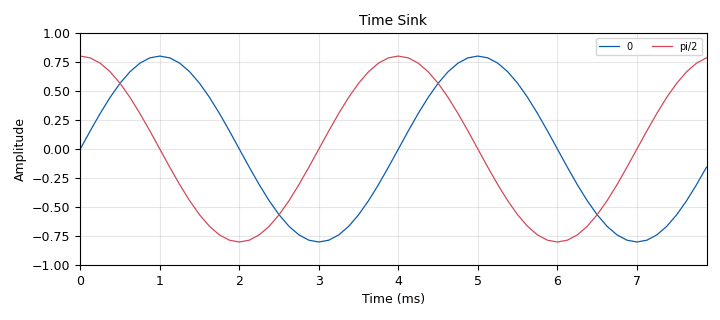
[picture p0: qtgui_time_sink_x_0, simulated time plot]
options:
  parameters:
    generate_options: qt_gui
    id: fg_ch17_002
    output_language: python
    title: FG-CH17-002
  states: {}

blocks:
- name: samp_rate
  id: variable
  parameters:
    value: '8000'
  states: {}
- name: analog_sig_source_x_0
  id: analog_sig_source_x
  parameters:
    amp: '0.8'
    freq: '250'
    offset: '0'
    phase: '0'
    samp_rate: samp_rate
    type: float
    waveform: analog.GR_COS_WAVE
  states: {}
- name: analog_sig_source_x_1
  id: analog_sig_source_x
  parameters:
    amp: '0.8'
    freq: '250'
    offset: '0'
    phase: math.pi/2
    samp_rate: samp_rate
    type: float
    waveform: analog.GR_COS_WAVE
  states: {}
- name: blocks_throttle2_0
  id: blocks_throttle2
  parameters:
    samples_per_second: samp_rate
    type: float
  states: {}
- name: blocks_throttle2_1
  id: blocks_throttle2
  parameters:
    samples_per_second: samp_rate
    type: float
  states: {}
- name: import_0
  id: import
  parameters:
    imports: import math
  states: {}
- name: qtgui_time_sink_x_0
  id: qtgui_time_sink_x
  parameters:
    grid: 'True'
    label1: '"0"'
    label2: '"pi/2"'
    name: '"Time Sink"'
    nconnections: '2'
    size: '64'
    srate: samp_rate
    tr_mode: qtgui.TRIG_MODE_NORM
    type: float
  states: {}

connections:
- [analog_sig_source_x_0, '0', blocks_throttle2_0, '0']
- [analog_sig_source_x_1, '0', blocks_throttle2_1, '0']
- [blocks_throttle2_0, '0', qtgui_time_sink_x_0, '0']
- [blocks_throttle2_1, '0', qtgui_time_sink_x_0, '1']

metadata:
  file_format: 1
  grc_version: 3.10.12.0
